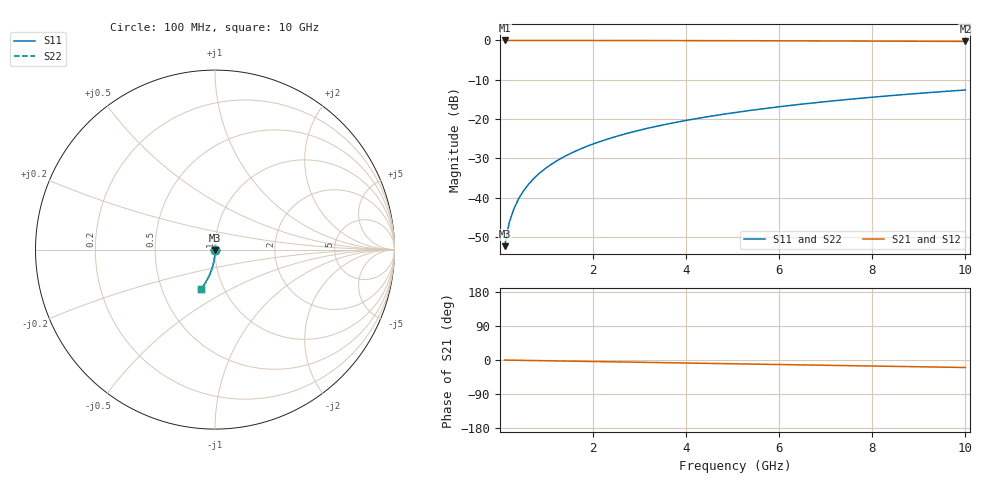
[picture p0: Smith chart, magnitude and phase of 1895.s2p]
# Hz S RI R 50.00
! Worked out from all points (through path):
!   100 points, 100 MHz to 10 GHz, reference 50 ohm
!   highest |S21| = 0.00 dB at 100 MHz (marker M1); lowest = -0.2 dB at 10 GHz (marker M2)
!   group delay of S21, straight-line fit = 5.51 ps
!   lowest |S11| = -52.4 dB at 100 MHz (marker M3), VSWR 1.00, Z = 50 - j0.24 ohm
!   |S11| at or under -10 dB: start of sweep to end of sweep
!   |S22| runs from -52.4 to -12.6 dB; largest |S21 - S12| = 0
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1e8  0.000127 -0.0024  0.9998 -0.00347  0.9998 -0.00347  0.000127 -0.0024
2e8  0.0001 -0.0048  0.9998 -0.00694  0.9998 -0.00694  0.0001 -0.0048
3e8  5.62e-05 -0.0072  0.9998 -0.0104  0.9998 -0.0104  5.62e-05 -0.0072
4e8  -4.41e-06 -0.0096  0.9997 -0.0139  0.9997 -0.0139  -4.41e-06 -0.0096
5e8  -8.18e-05 -0.012  0.9996 -0.0174  0.9996 -0.0174  -8.18e-05 -0.012
6e8  -0.000176 -0.0144  0.9995 -0.0208  0.9995 -0.0208  -0.000176 -0.0144
7e8  -0.000287 -0.0168  0.9994 -0.0243  0.9994 -0.0243  -0.000287 -0.0168
8e8  -0.000414 -0.0192  0.9993 -0.0278  0.9993 -0.0278  -0.000414 -0.0192
9e8  -0.000558 -0.0216  0.9991 -0.0312  0.9991 -0.0312  -0.000558 -0.0216
1.1e9  -0.000897 -0.0264  0.9987 -0.0382  0.9987 -0.0382  -0.000897 -0.0264
1.4e9  -0.00153 -0.0336  0.9981 -0.0486  0.9981 -0.0486  -0.00153 -0.0336
1.8e9  -0.00261 -0.0431  0.9969 -0.0624  0.9969 -0.0624  -0.00261 -0.0431
2.1e9  -0.00359 -0.0503  0.9959 -0.0728  0.9959 -0.0728  -0.00359 -0.0503
2.5e9  -0.00513 -0.0598  0.9942 -0.0866  0.9942 -0.0866  -0.00513 -0.0598
2.9e9  -0.00694 -0.0692  0.9923 -0.1004  0.9923 -0.1004  -0.00694 -0.0692
3.4e9  -0.00957 -0.081  0.9895 -0.1175  0.9895 -0.1175  -0.00957 -0.081
4.2e9  -0.0146 -0.0996  0.9841 -0.1448  0.9841 -0.1448  -0.0146 -0.0996
5.1e9  -0.0215 -0.1201  0.9767 -0.175  0.9767 -0.175  -0.0215 -0.1201
5.9e9  -0.0287 -0.1378  0.969 -0.2015  0.969 -0.2015  -0.0287 -0.1378
6.7e9  -0.0368 -0.1551  0.9602 -0.2276  0.9602 -0.2276  -0.0368 -0.1551
8.4e9  -0.057 -0.19  0.9385 -0.2812  0.9385 -0.2812  -0.057 -0.19
1e10  -0.0794 -0.2201  0.9143 -0.3292  0.9143 -0.3292  -0.0794 -0.2201
